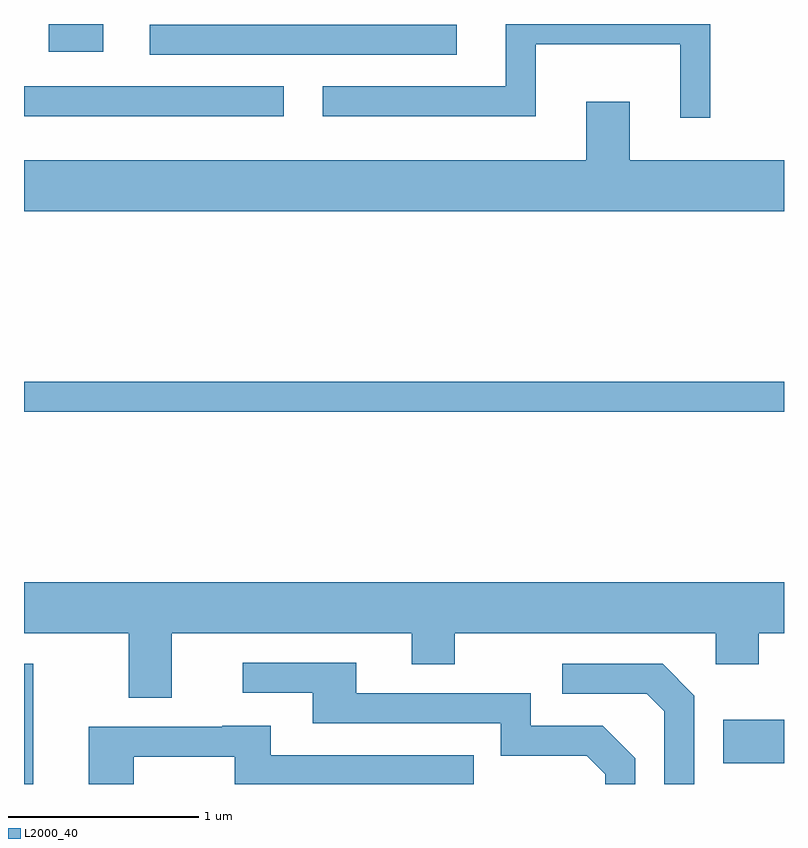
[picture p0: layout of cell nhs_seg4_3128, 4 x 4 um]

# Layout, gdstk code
import gdstk
lib = gdstk.Library(unit=1e-6, precision=1e-09)
def R(c, l, rs):  # rectangles x0, y0, x1, y1
    for r in rs: c.add(gdstk.rectangle(r[:2], r[2:], *l))
def P(c, l, *ps):  # polygons
    for p in ps: c.add(gdstk.Polygon(p, *l))
L2000_40 = (2000, 40)

nhs_seg4_3128 = lib.new_cell('nhs_seg4_3128')
R(nhs_seg4_3128, L2000_40, [(277.611,1253.982,277.659,1254.614), (281.291,1254.091,281.611,1254.319), (277.611,1255.941,281.611,1256.099), (277.611,1257.496,278.978,1257.654), (278.273,1257.821,279.888,1257.979), (277.741,1257.836,278.029,1257.982)])
P(nhs_seg4_3128, L2000_40, [(281.224,1257.982),(280.146,1257.982),(280.146,1257.654),(279.183,1257.654),(279.183,1257.496),(280.304,1257.496),(280.304,1257.876),(281.066,1257.876),(281.066,1257.488),(281.224,1257.488)],
  [(281.611,1257.264),(280.799,1257.264),(280.799,1257.574),(280.571,1257.574),(280.571,1257.264),(277.611,1257.264),(277.611,1256.996),(281.611,1256.996)],
  [(278.389,1254.776),(279.651,1254.776),(279.651,1254.611),(279.879,1254.611),(279.879,1254.776),(281.251,1254.776),(281.251,1254.611),(281.479,1254.611),(281.479,1254.776),(281.611,1254.776),(281.611,1255.044),(277.611,1255.044),(277.611,1254.776),(278.161,1254.776),(278.161,1254.436),(278.389,1254.436)],
  [(280.829,1254.117),(280.657,1254.289),(280.279,1254.289),(280.279,1254.459),(279.359,1254.459),(279.359,1254.619),(278.763,1254.619),(278.763,1254.461),(279.131,1254.461),(279.131,1254.301),(280.121,1254.301),(280.121,1254.131),(280.574,1254.131),(280.671,1254.034),(280.671,1253.982),(280.829,1253.982)],
  [(281.139,1254.447),(280.972,1254.614),(280.443,1254.614),(280.443,1254.456),(280.889,1254.456),(280.981,1254.364),(280.981,1253.982),(281.139,1253.982)],
  [(278.189,1254.126),(278.721,1254.126),(278.721,1253.982),(279.978,1253.982),(279.978,1254.134),(278.909,1254.134),(278.909,1254.289),(278.655,1254.289),(278.655,1254.284),(277.951,1254.284),(277.951,1253.982),(278.189,1253.982)])

lib.write_gds('nhs_seg4_3128.gds')
